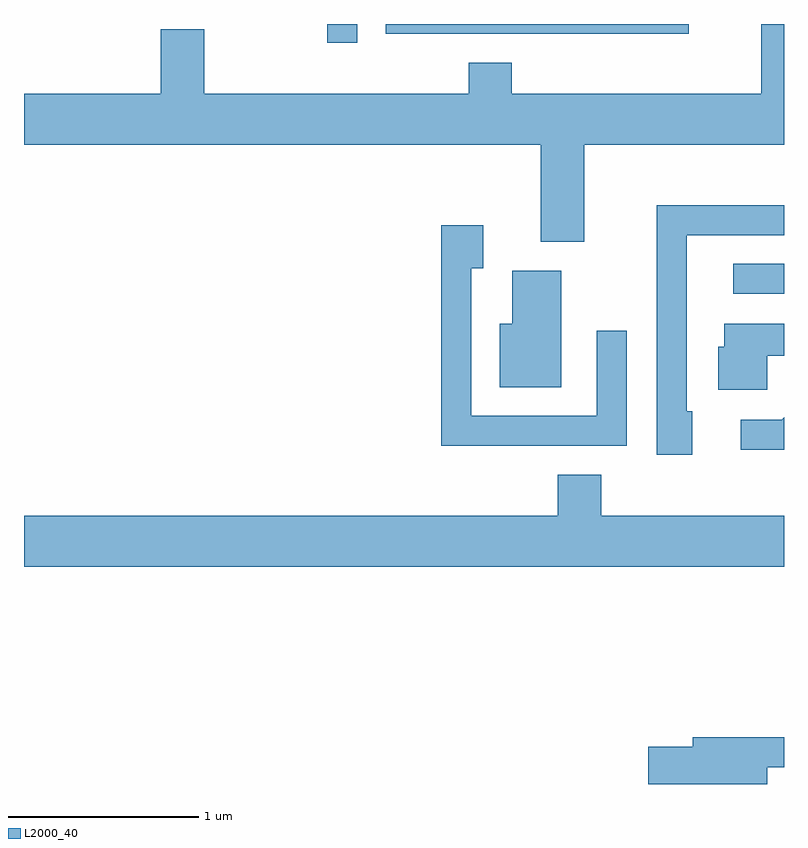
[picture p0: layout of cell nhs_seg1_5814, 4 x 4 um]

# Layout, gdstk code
import gdstk
lib = gdstk.Library(unit=1e-6, precision=1e-09)
def R(c, l, rs):  # rectangles x0, y0, x1, y1
    for r in rs: c.add(gdstk.rectangle(r[:2], r[2:], *l))
def P(c, l, *ps):  # polygons
    for p in ps: c.add(gdstk.Polygon(p, *l))
L2000_40 = (2000, 40)

nhs_seg1_5814 = lib.new_cell('nhs_seg1_5814')
R(nhs_seg1_5814, L2000_40, [(363.343,954.291,363.611,954.449), (361.206,955.613,361.364,955.712), (361.516,955.661,363.109,955.712)])
P(nhs_seg1_5814, L2000_40, [(362.559,955.076),(363.611,955.076),(363.611,955.712),(363.491,955.712),(363.491,955.344),(362.179,955.344),(362.179,955.509),(361.951,955.509),(361.951,955.344),(360.559,955.344),(360.559,955.684),(360.331,955.684),(360.331,955.344),(359.611,955.344),(359.611,955.076),(362.331,955.076),(362.331,954.566),(362.559,954.566)],
  [(363.129,953.674),(363.099,953.674),(363.099,954.601),(363.611,954.601),(363.611,954.759),(362.941,954.759),(362.941,953.446),(363.129,953.446)],
  [(362.784,954.098),(362.626,954.098),(362.626,953.649),(361.964,953.649),(361.964,954.426),(362.029,954.426),(362.029,954.654),(361.806,954.654),(361.806,953.491),(362.784,953.491)],
  [(362.439,954.414),(362.181,954.414),(362.181,954.134),(362.116,954.134),(362.116,953.801),(362.439,953.801)],
  [(363.524,953.966),(363.611,953.966),(363.611,954.134),(363.296,954.134),(363.296,954.014),(363.266,954.014),(363.266,953.786),(363.524,953.786)],
  [(363.611,953.641),(363.599,953.629),(363.383,953.629),(363.383,953.471),(363.611,953.471)],
  [(363.611,953.124),(362.649,953.124),(362.649,953.339),(362.421,953.339),(362.421,953.124),(359.611,953.124),(359.611,952.856),(363.611,952.856)],
  [(363.524,951.801),(363.611,951.801),(363.611,951.959),(363.131,951.959),(363.131,951.909),(362.896,951.909),(362.896,951.712),(363.524,951.712)])

lib.write_gds('nhs_seg1_5814.gds')
